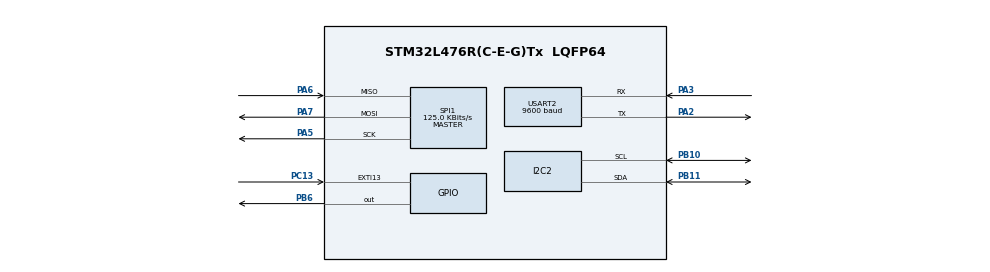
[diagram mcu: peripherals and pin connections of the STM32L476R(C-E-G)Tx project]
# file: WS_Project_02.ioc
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I2C2.Timing=0x00100D14
Mcu.Family=STM32L4
Mcu.Name=STM32L476R(C-E-G)Tx
Mcu.Package=LQFP64
NVIC.EXTI15_10_IRQn=true\:0\:0\:false\:false\:true\:true\:true\:true
NVIC.PriorityGroup=NVIC_PRIORITYGROUP_4
PA2.Mode=Asynchronous
PA2.Signal=USART2_TX
PA3.Mode=Asynchronous
PA3.Signal=USART2_RX
PA5.Mode=Full_Duplex_Master
PA5.Signal=SPI1_SCK
PA6.Mode=Full_Duplex_Master
PA6.Signal=SPI1_MISO
PA7.Mode=Full_Duplex_Master
PA7.Signal=SPI1_MOSI
PB10.GPIO_Pu=GPIO_PULLUP
PB10.Mode=I2C
PB10.Signal=I2C2_SCL
PB11.GPIO_Pu=GPIO_PULLUP
PB11.Mode=I2C
PB11.Signal=I2C2_SDA
PB6.Signal=GPIO_Output
PC13.Signal=GPXTI13
ProjectManager.HeapSize=0x200
ProjectManager.StackSize=0x400
ProjectManager.TargetToolchain=STM32CubeIDE
RCC.HSE_VALUE=8000000
RCC.HSI_VALUE=16000000
RCC.LSE_VALUE=32768
RCC.MSI_VALUE=4000000
RCC.VCOOutputFreq_Value=32000000
SPI1.BaudRatePrescaler=SPI_BAUDRATEPRESCALER_32
SPI1.CalculateBaudRate=125.0 KBits/s
SPI1.DataSize=SPI_DATASIZE_8BIT
SPI1.Direction=SPI_DIRECTION_2LINES
SPI1.Mode=SPI_MODE_MASTER
SPI1.VirtualType=VM_MASTER
USART2.BaudRate=9600
USART2.VirtualMode-Asynchronous=VM_ASYNC
board=custom

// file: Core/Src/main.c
/* USER CODE BEGIN Header */
/**
  ******************************************************************************
  * @file           : main.c
  * @brief          : Main program body
  ******************************************************************************
  * @attention
  *
  * Copyright (c) 2026 STMicroelectronics.
  * All rights reserved.
  *
  * This software is licensed under terms that can be found in the LICENSE file
  * in the root directory of this software component.
  * If no LICENSE file comes with this software, it is provided AS-IS.
  *
  ******************************************************************************
  */
/* USER CODE END Header */
#include "main.h"

/* USER CODE BEGIN Includes */
#include <stdio.h>
#include "BME280_STM32.h"
#include "w25q32f.h"
/* USER CODE END Includes */

/* USER CODE BEGIN PD */
#define FLASH_START_ADDR  0x000000
#define FLASH_SECTOR_SIZE 4096

/* USER CODE END PD */

I2C_HandleTypeDef hi2c2;

SPI_HandleTypeDef hspi1;

UART_HandleTypeDef huart2;

/* USER CODE BEGIN PV */
typedef struct
{
    float temperature;
    float pressure;
    float humidity;
} bme_log_t;

volatile bme_log_t sensor_log;

uint32_t write_addr = 0x000000;

volatile uint8_t read_request = 0;

uint32_t flash_id;
/* USER CODE END PV */

void SystemClock_Config(void);
static void MX_GPIO_Init(void);
static void MX_I2C2_Init(void);
static void MX_SPI1_Init(void);
static void MX_USART2_UART_Init(void);

/* USER CODE BEGIN 0 */

int __io_putchar(int ch)
{
	HAL_UART_Transmit(&huart2,(uint8_t*)&ch,1,10);
	return ch;
}

void HAL_GPIO_EXTI_Callback(uint16_t GPIO_Pin)
{
    if(GPIO_Pin == GPIO_PIN_13)
    {
        read_request = 1;
    }
}

void print_last_5_logs(void)
{
    bme_log_t read_data;

    printf("\r\nLast 5 Entries:\r\n");

    for(int i = 0; i < 5; i++)
    {
        uint32_t read_addr;

        if(write_addr == FLASH_START_ADDR)
        {
            read_addr =
                FLASH_START_ADDR +
                FLASH_SECTOR_SIZE -
                ((i + 1) * sizeof(bme_log_t));
        }
        else
        {
            read_addr =
                write_addr -
                ((i + 1) * sizeof(bme_log_t));

            if(read_addr < FLASH_START_ADDR)
            {
                read_addr =
                    FLASH_START_ADDR +
                    FLASH_SECTOR_SIZE -
                    (FLASH_START_ADDR - read_addr);
            }
        }

        w25q_read(read_addr,
                  (uint8_t*)&read_data,
                  sizeof(bme_log_t));

        printf("[%d]\r\n", i);

        printf("Temp : %.2f C\r\n",
               read_data.temperature);

        printf("Press: %.2f Pa\r\n",
               read_data.pressure);

        printf("Hum  : %.2f %%\r\n\r\n",
               read_data.humidity);
    }
}

/* USER CODE END 0 */

int main(void)
{

  /* MCU Configuration--------------------------------------------------------*/

  /* Reset of all peripherals, Initializes the Flash interface and the Systick. */
  HAL_Init();

  /* Configure the system clock */
  SystemClock_Config();

  /* Initialize all configured peripherals */
  MX_GPIO_Init();
  MX_I2C2_Init();
  MX_SPI1_Init();
  MX_USART2_UART_Init();
  /* USER CODE BEGIN 2 */
  w25q_reset();

  flash_id = w25q_readID();

  printf("Flash ID: 0x%lX\r\n", flash_id);

  w25q_erase_sector(0);

  BME280_Config(OSRS_2, OSRS_16, OSRS_1, MODE_NORMAL, T_SB_0p5, IIR_16);

  /* USER CODE END 2 */

  /* Infinite loop */
  while (1)
  {

    /* USER CODE BEGIN 3 */

	  BME280_Measure((float *)&sensor_log.temperature, (float *)&sensor_log.pressure, (float *)&sensor_log.humidity);

	  //printf("Writing T: %.2f\r\n",
	              //sensor_log.temperature);

	  // wrap sector
	  if((write_addr + sizeof(bme_log_t)) >
	       (FLASH_START_ADDR + FLASH_SECTOR_SIZE))
	  {
	      //printf("Flash Wrapped\r\n");

	        w25q_erase_sector(0);

	        write_addr = FLASH_START_ADDR;
	  }

	  w25q_write(write_addr,
	               (uint8_t*)&sensor_log,
	               sizeof(bme_log_t));

	  write_addr += sizeof(bme_log_t);

	  // button pressed
	  if(read_request)
	  {
	      read_request = 0;

	      print_last_5_logs();
	  }
  }
  /* USER CODE END 3 */
}

void SystemClock_Config(void)
{
  RCC_OscInitTypeDef RCC_OscInitStruct = {0};
  RCC_ClkInitTypeDef RCC_ClkInitStruct = {0};

  /** Configure the main internal regulator output voltage
  */
  if (HAL_PWREx_ControlVoltageScaling(PWR_REGULATOR_VOLTAGE_SCALE1) != HAL_OK)
  {
    Error_Handler();
  }

  /** Initializes the RCC Oscillators according to the specified parameters
  * in the RCC_OscInitTypeDef structure.
  */
  RCC_OscInitStruct.OscillatorType = RCC_OSCILLATORTYPE_MSI;
  RCC_OscInitStruct.MSIState = RCC_MSI_ON;
  RCC_OscInitStruct.MSICalibrationValue = 0;
  RCC_OscInitStruct.MSIClockRange = RCC_MSIRANGE_6;
  RCC_OscInitStruct.PLL.PLLState = RCC_PLL_NONE;
  if (HAL_RCC_OscConfig(&RCC_OscInitStruct) != HAL_OK)
  {
    Error_Handler();
  }

  /** Initializes the CPU, AHB and APB buses clocks
  */
  RCC_ClkInitStruct.ClockType = RCC_CLOCKTYPE_HCLK|RCC_CLOCKTYPE_SYSCLK
                              |RCC_CLOCKTYPE_PCLK1|RCC_CLOCKTYPE_PCLK2;
  RCC_ClkInitStruct.SYSCLKSource = RCC_SYSCLKSOURCE_MSI;
  RCC_ClkInitStruct.AHBCLKDivider = RCC_SYSCLK_DIV1;
  RCC_ClkInitStruct.APB1CLKDivider = RCC_HCLK_DIV1;
  RCC_ClkInitStruct.APB2CLKDivider = RCC_HCLK_DIV1;

  if (HAL_RCC_ClockConfig(&RCC_ClkInitStruct, FLASH_LATENCY_0) != HAL_OK)
  {
    Error_Handler();
  }
}

static void MX_I2C2_Init(void)
{

  hi2c2.Instance = I2C2;
  hi2c2.Init.Timing = 0x00100D14;
  hi2c2.Init.OwnAddress1 = 0;
  hi2c2.Init.AddressingMode = I2C_ADDRESSINGMODE_7BIT;
  hi2c2.Init.DualAddressMode = I2C_DUALADDRESS_DISABLE;
  hi2c2.Init.OwnAddress2 = 0;
  hi2c2.Init.OwnAddress2Masks = I2C_OA2_NOMASK;
  hi2c2.Init.GeneralCallMode = I2C_GENERALCALL_DISABLE;
  hi2c2.Init.NoStretchMode = I2C_NOSTRETCH_DISABLE;
  if (HAL_I2C_Init(&hi2c2) != HAL_OK)
  {
    Error_Handler();
  }

  /** Configure Analogue filter
  */
  if (HAL_I2CEx_ConfigAnalogFilter(&hi2c2, I2C_ANALOGFILTER_ENABLE) != HAL_OK)
  {
    Error_Handler();
  }

  /** Configure Digital filter
  */
  if (HAL_I2CEx_ConfigDigitalFilter(&hi2c2, 0) != HAL_OK)
  {
    Error_Handler();
  }

}

static void MX_SPI1_Init(void)
{

  /* SPI1 parameter configuration*/
  hspi1.Instance = SPI1;
  hspi1.Init.Mode = SPI_MODE_MASTER;
  hspi1.Init.Direction = SPI_DIRECTION_2LINES;
  hspi1.Init.DataSize = SPI_DATASIZE_8BIT;
  hspi1.Init.CLKPolarity = SPI_POLARITY_LOW;
  hspi1.Init.CLKPhase = SPI_PHASE_1EDGE;
  hspi1.Init.NSS = SPI_NSS_SOFT;
  hspi1.Init.BaudRatePrescaler = SPI_BAUDRATEPRESCALER_32;
  hspi1.Init.FirstBit = SPI_FIRSTBIT_MSB;
  hspi1.Init.TIMode = SPI_TIMODE_DISABLE;
  hspi1.Init.CRCCalculation = SPI_CRCCALCULATION_DISABLE;
  hspi1.Init.CRCPolynomial = 7;
  hspi1.Init.CRCLength = SPI_CRC_LENGTH_DATASIZE;
  hspi1.Init.NSSPMode = SPI_NSS_PULSE_ENABLE;
  if (HAL_SPI_Init(&hspi1) != HAL_OK)
  {
    Error_Handler();
  }

}

static void MX_USART2_UART_Init(void)
{

  huart2.Instance = USART2;
  huart2.Init.BaudRate = 9600;
  huart2.Init.WordLength = UART_WORDLENGTH_8B;
  huart2.Init.StopBits = UART_STOPBITS_1;
  huart2.Init.Parity = UART_PARITY_NONE;
  huart2.Init.Mode = UART_MODE_TX_RX;
  huart2.Init.HwFlowCtl = UART_HWCONTROL_NONE;
  huart2.Init.OverSampling = UART_OVERSAMPLING_16;
  huart2.Init.OneBitSampling = UART_ONE_BIT_SAMPLE_DISABLE;
  huart2.AdvancedInit.AdvFeatureInit = UART_ADVFEATURE_NO_INIT;
  if (HAL_UART_Init(&huart2) != HAL_OK)
  {
    Error_Handler();
  }

}

static void MX_GPIO_Init(void)
{
  GPIO_InitTypeDef GPIO_InitStruct = {0};

  /* GPIO Ports Clock Enable */
  __HAL_RCC_GPIOC_CLK_ENABLE();
  __HAL_RCC_GPIOA_CLK_ENABLE();
  __HAL_RCC_GPIOB_CLK_ENABLE();

  /*Configure GPIO pin Output Level */
  HAL_GPIO_WritePin(GPIOB, GPIO_PIN_6, GPIO_PIN_RESET);

  /*Configure GPIO pin : PC13 */
  GPIO_InitStruct.Pin = GPIO_PIN_13;
  GPIO_InitStruct.Mode = GPIO_MODE_IT_RISING;
  GPIO_InitStruct.Pull = GPIO_NOPULL;
  HAL_GPIO_Init(GPIOC, &GPIO_InitStruct);

  /*Configure GPIO pin : PB6 */
  GPIO_InitStruct.Pin = GPIO_PIN_6;
  GPIO_InitStruct.Mode = GPIO_MODE_OUTPUT_PP;
  GPIO_InitStruct.Pull = GPIO_NOPULL;
  GPIO_InitStruct.Speed = GPIO_SPEED_FREQ_LOW;
  HAL_GPIO_Init(GPIOB, &GPIO_InitStruct);

  /* EXTI interrupt init*/
  HAL_NVIC_SetPriority(EXTI15_10_IRQn, 0, 0);
  HAL_NVIC_EnableIRQ(EXTI15_10_IRQn);

}

void Error_Handler(void)
{
  __disable_irq();
  while (1)
  {
  }
}
